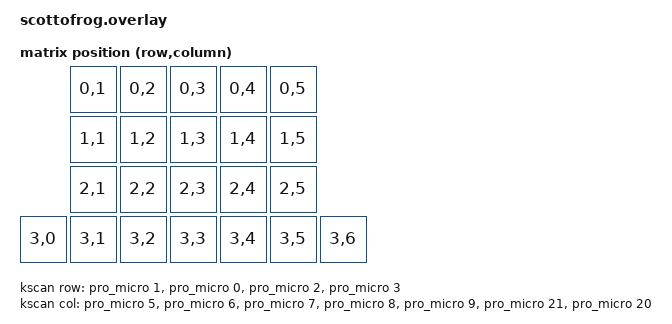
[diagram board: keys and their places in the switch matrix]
#include <dt-bindings/zmk/matrix_transform.h>

/ {
    chosen {
        zmk,kscan = &kscan;
        zmk,matrix_transform = &transform;
    };

    kscan: kscan {
        compatible = "zmk, kscan-gpio-matrix";
        label = "KSCAN";
        diode-direction = "col2row";

        row-gpios = <&pro_micro 1 (GPIO_ACTIVE_LOW | GPIO_PULL_DOWN)>,
                    <&pro_micro 0 (GPIO_ACTIVE_LOW | GPIO_PULL_DOWN)>,
                    <&pro_micro 2 (GPIO_ACTIVE_LOW | GPIO_PULL_DOWN)>,
                    <&pro_micro 3 (GPIO_ACTIVE_LOW | GPIO_PULL_DOWN)>;

        col-gpios = <&pro_micro 5 (GPIO_ACTIVE_LOW | GPIO_PULL_DOWN)>,
                    <&pro_micro 6 (GPIO_ACTIVE_LOW | GPIO_PULL_DOWN)>,
                    <&pro_micro 7 (GPIO_ACTIVE_LOW | GPIO_PULL_DOWN)>,
                    <&pro_micro 8 (GPIO_ACTIVE_LOW | GPIO_PULL_DOWN)>,
                    <&pro_micro 9 (GPIO_ACTIVE_LOW | GPIO_PULL_DOWN)>,
                    <&pro_micro 21 (GPIO_ACTIVE_LOW | GPIO_PULL_DOWN)>,
                    <&pro_micro 20 (GPIO_ACTIVE_LOW | GPIO_PULL_DOWN)>;
    };

    transform: matrix_transform {
        compatible = "zmk, matrix-transform";
        rows = <4>;
        columns = <7>;

        map = <
                     RC(0, 1) RC(0, 2) RC(0, 3) RC(0, 4) RC(0, 5)
                     RC(1, 1) RC(1, 2) RC(1, 3) RC(1, 4) RC(1, 5)
                     RC(2, 1) RC(2, 2) RC(2, 3) RC(2, 4) RC(2, 5)
            RC(3, 0) RC(3, 1) RC(3, 2) RC(3, 3) RC(3, 4) RC(3, 5) RC(3, 6)
        >;
    };
};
